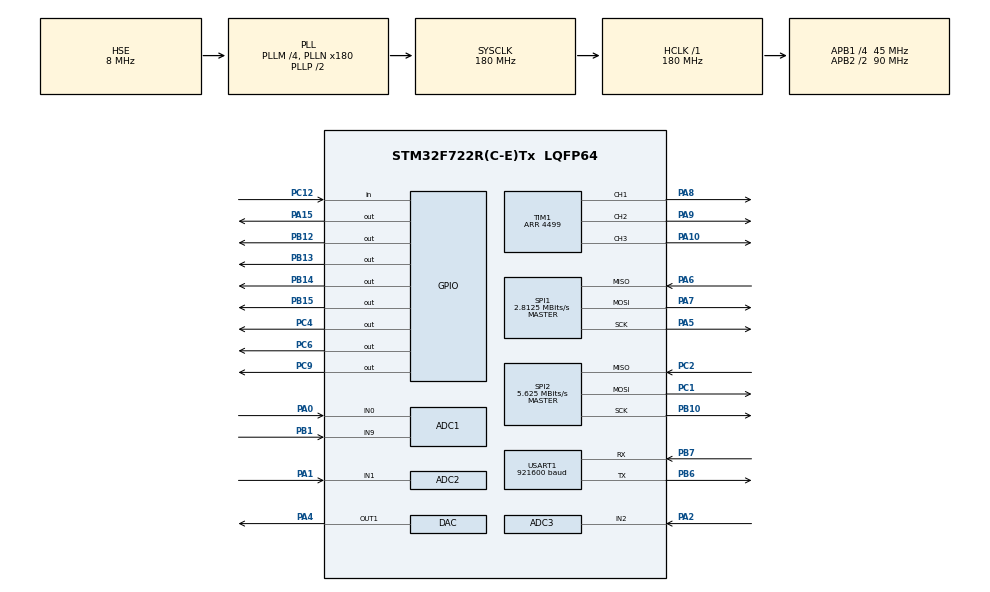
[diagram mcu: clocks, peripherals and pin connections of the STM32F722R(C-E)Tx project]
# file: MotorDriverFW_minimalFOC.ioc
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ADC1.Channel-0\#ChannelRegularConversion=ADC_CHANNEL_9
ADC1.Channel-1\#ChannelInjectedConversion=ADC_CHANNEL_0
ADC1.ClockPrescaler=ADC_CLOCK_SYNC_PCLK_DIV4
ADC1.ContinuousConvMode=DISABLE
ADC1.DMAContinuousRequests=DISABLE
ADC1.ExternalTrigConv=ADC_SOFTWARE_START
ADC1.ExternalTrigConvEdge=ADC_EXTERNALTRIGCONVEDGE_NONE
ADC1.ExternalTrigInjecConv=ADC_EXTERNALTRIGINJECCONV_T1_TRGO
ADC1.InjNumberOfConversion=1
ADC1.InjectedOffset-1\#ChannelInjectedConversion=0
ADC1.InjectedRank-1\#ChannelInjectedConversion=1
ADC1.Mode=ADC_TRIPLEMODE_INJECSIMULT
ADC1.NbrOfConversion=1
ADC1.NbrOfConversionFlag=1
ADC1.Rank-0\#ChannelRegularConversion=1
ADC1.SamplingTime-0\#ChannelRegularConversion=ADC_SAMPLETIME_3CYCLES
ADC1.SamplingTime-1\#ChannelInjectedConversion=ADC_SAMPLETIME_28CYCLES
ADC1.master=1
ADC2.Channel-0\#ChannelRegularConversion=ADC_CHANNEL_1
ADC2.Channel-1\#ChannelInjectedConversion=ADC_CHANNEL_1
ADC2.InjNumberOfConversion=1
ADC2.InjectedOffset-1\#ChannelInjectedConversion=0
ADC2.InjectedRank-1\#ChannelInjectedConversion=1
ADC2.Mode=ADC_TRIPLEMODE_INJECSIMULT
ADC2.NbrOfConversion=1
ADC2.NbrOfConversionFlag=1
ADC2.Rank-0\#ChannelRegularConversion=1
ADC2.SamplingTime-0\#ChannelRegularConversion=ADC_SAMPLETIME_3CYCLES
ADC2.SamplingTime-1\#ChannelInjectedConversion=ADC_SAMPLETIME_28CYCLES
ADC3.Channel-0\#ChannelRegularConversion=ADC_CHANNEL_2
ADC3.Channel-1\#ChannelInjectedConversion=ADC_CHANNEL_2
ADC3.DMAAccessMode=ADC_DMAACCESSMODE_1
ADC3.InjNumberOfConversion=1
ADC3.InjectedOffset-1\#ChannelInjectedConversion=0
ADC3.InjectedRank-1\#ChannelInjectedConversion=1
ADC3.Mode=ADC_TRIPLEMODE_INJECSIMULT
ADC3.NbrOfConversion=1
ADC3.NbrOfConversionFlag=1
ADC3.Rank-0\#ChannelRegularConversion=1
ADC3.SamplingTime-0\#ChannelRegularConversion=ADC_SAMPLETIME_3CYCLES
ADC3.SamplingTime-1\#ChannelInjectedConversion=ADC_SAMPLETIME_28CYCLES
CORTEX_M7.ART_ACCELERATOR_ENABLE=0
CORTEX_M7.CPU_DCache=Disabled
CORTEX_M7.CPU_ICache=Enabled
CORTEX_M7.FlashInterface=AXI_Enabled
CORTEX_M7.PREFETCH_ENABLE=0
CORTEX_M7.default_mode_Activation=1
Dma.Request0=USART1_TX
Dma.Request1=USART1_RX
Dma.Request2=SPI2_RX
Dma.Request3=SPI2_TX
Dma.SPI2_RX.2.Direction=DMA_PERIPH_TO_MEMORY
Dma.SPI2_RX.2.FIFOMode=DMA_FIFOMODE_DISABLE
Dma.SPI2_RX.2.Instance=DMA1_Stream3
Dma.SPI2_RX.2.MemDataAlignment=DMA_MDATAALIGN_HALFWORD
Dma.SPI2_RX.2.MemInc=DMA_MINC_ENABLE
Dma.SPI2_RX.2.Mode=DMA_NORMAL
Dma.SPI2_RX.2.PeriphDataAlignment=DMA_PDATAALIGN_HALFWORD
Dma.SPI2_RX.2.PeriphInc=DMA_PINC_DISABLE
Dma.SPI2_RX.2.Priority=DMA_PRIORITY_MEDIUM
Dma.SPI2_TX.3.Direction=DMA_MEMORY_TO_PERIPH
Dma.SPI2_TX.3.FIFOMode=DMA_FIFOMODE_DISABLE
Dma.SPI2_TX.3.Instance=DMA1_Stream4
Dma.SPI2_TX.3.MemDataAlignment=DMA_MDATAALIGN_HALFWORD
Dma.SPI2_TX.3.MemInc=DMA_MINC_ENABLE
Dma.SPI2_TX.3.Mode=DMA_NORMAL
Dma.SPI2_TX.3.PeriphDataAlignment=DMA_PDATAALIGN_HALFWORD
Dma.SPI2_TX.3.PeriphInc=DMA_PINC_DISABLE
Dma.SPI2_TX.3.Priority=DMA_PRIORITY_MEDIUM
Dma.USART1_RX.1.Direction=DMA_PERIPH_TO_MEMORY
Dma.USART1_RX.1.FIFOMode=DMA_FIFOMODE_DISABLE
Dma.USART1_RX.1.Instance=DMA2_Stream2
Dma.USART1_RX.1.MemDataAlignment=DMA_MDATAALIGN_BYTE
Dma.USART1_RX.1.MemInc=DMA_MINC_ENABLE
Dma.USART1_RX.1.Mode=DMA_CIRCULAR
Dma.USART1_RX.1.PeriphDataAlignment=DMA_PDATAALIGN_BYTE
Dma.USART1_RX.1.PeriphInc=DMA_PINC_DISABLE
Dma.USART1_RX.1.Priority=DMA_PRIORITY_LOW
Dma.USART1_TX.0.Direction=DMA_MEMORY_TO_PERIPH
Dma.USART1_TX.0.FIFOMode=DMA_FIFOMODE_DISABLE
Dma.USART1_TX.0.Instance=DMA2_Stream7
Dma.USART1_TX.0.MemDataAlignment=DMA_MDATAALIGN_BYTE
Dma.USART1_TX.0.MemInc=DMA_MINC_ENABLE
Dma.USART1_TX.0.Mode=DMA_NORMAL
Dma.USART1_TX.0.PeriphDataAlignment=DMA_PDATAALIGN_BYTE
Dma.USART1_TX.0.PeriphInc=DMA_PINC_DISABLE
Dma.USART1_TX.0.Priority=DMA_PRIORITY_LOW
Mcu.Family=STM32F7
Mcu.Name=STM32F722R(C-E)Tx
Mcu.Package=LQFP64
NVIC.ADC_IRQn=true\:0\:0\:false\:false\:true\:true\:true\:true
NVIC.DMA1_Stream3_IRQn=true\:0\:0\:false\:false\:true\:false\:true\:true
NVIC.DMA1_Stream4_IRQn=true\:0\:0\:false\:false\:true\:false\:true\:true
NVIC.DMA2_Stream2_IRQn=true\:1\:0\:true\:false\:true\:false\:true\:true
NVIC.DMA2_Stream7_IRQn=true\:1\:0\:true\:false\:true\:false\:true\:true
NVIC.PriorityGroup=NVIC_PRIORITYGROUP_4
NVIC.TIM1_UP_TIM10_IRQn=true\:0\:0\:false\:false\:true\:true\:true\:true
NVIC.USART1_IRQn=true\:2\:0\:true\:false\:true\:false\:true\:true
PA0-WKUP.Signal=ADCx_IN0
PA1.Signal=ADCx_IN1
PA10.Signal=S_TIM1_CH3
PA13.Mode=Trace_Asynchronous_SW
PA13.Signal=SYS_JTMS-SWDIO
PA14.Mode=Trace_Asynchronous_SW
PA14.Signal=SYS_JTCK-SWCLK
PA15.GPIO_Speed=GPIO_SPEED_FREQ_VERY_HIGH
PA15.Signal=GPIO_Output
PA2.Signal=ADCx_IN2
PA4.Signal=COMP_DAC1_group
PA5.Mode=Full_Duplex_Master
PA5.Signal=SPI1_SCK
PA6.Mode=Full_Duplex_Master
PA6.Signal=SPI1_MISO
PA7.Mode=Full_Duplex_Master
PA7.Signal=SPI1_MOSI
PA8.Signal=S_TIM1_CH1
PA9.Signal=S_TIM1_CH2
PB1.Signal=ADCx_IN9
PB10.Mode=Full_Duplex_Master
PB10.Signal=SPI2_SCK
PB12.GPIO_Speed=GPIO_SPEED_FREQ_VERY_HIGH
PB12.Signal=GPIO_Output
PB13.GPIO_Speed=GPIO_SPEED_FREQ_VERY_HIGH
PB13.Signal=GPIO_Output
PB14.GPIO_Speed=GPIO_SPEED_FREQ_VERY_HIGH
PB14.PinState=GPIO_PIN_RESET
PB14.Signal=GPIO_Output
PB15.GPIO_Speed=GPIO_SPEED_FREQ_VERY_HIGH
PB15.Signal=GPIO_Output
PB3.Mode=Trace_Asynchronous_SW
PB3.Signal=SYS_JTDO-SWO
PB6.Mode=Asynchronous
PB6.Signal=USART1_TX
PB7.Mode=Asynchronous
PB7.Signal=USART1_RX
PC1.Mode=Full_Duplex_Master
PC1.Signal=SPI2_MOSI
PC12.Signal=GPIO_Input
PC2.Mode=Full_Duplex_Master
PC2.Signal=SPI2_MISO
PC4.GPIO_Speed=GPIO_SPEED_FREQ_VERY_HIGH
PC4.Signal=GPIO_Output
PC6.GPIO_Speed=GPIO_SPEED_FREQ_VERY_HIGH
PC6.Signal=GPIO_Output
PC9.GPIO_Speed=GPIO_SPEED_FREQ_VERY_HIGH
PC9.Signal=GPIO_Output
PH0-OSC_IN.Mode=HSE-External-Oscillator
PH0-OSC_IN.Signal=RCC_OSC_IN
PH1-OSC_OUT.Mode=HSE-External-Oscillator
PH1-OSC_OUT.Signal=RCC_OSC_OUT
ProjectManager.HeapSize=0x200
ProjectManager.StackSize=0x400
ProjectManager.TargetToolchain=STM32CubeIDE
RCC.AHBFreq_Value=180000000
RCC.APB1CLKDivider=RCC_HCLK_DIV4
RCC.APB1Freq_Value=45000000
RCC.APB1TimFreq_Value=90000000
RCC.APB2CLKDivider=RCC_HCLK_DIV2
RCC.APB2Freq_Value=90000000
RCC.APB2TimFreq_Value=180000000
RCC.CortexFreq_Value=180000000
RCC.HCLKFreq_Value=180000000
RCC.HSE_VALUE=8000000
RCC.HSI_VALUE=16000000
RCC.LSE_VALUE=32768
RCC.PLLM=4
RCC.PLLN=180
RCC.PLLSourceVirtual=RCC_PLLSOURCE_HSE
RCC.SYSCLKFreq_VALUE=180000000
RCC.SYSCLKSource=RCC_SYSCLKSOURCE_PLLCLK
RCC.USBFreq_Value=180000000
RCC.VCOOutputFreq_Value=360000000
SH.ADCx_IN0.0=ADC1_IN0,IN0
SH.ADCx_IN1.0=ADC2_IN1,IN1
SH.ADCx_IN2.0=ADC3_IN2,IN2
SH.ADCx_IN9.0=ADC1_IN9,IN9
SH.COMP_DAC1_group.0=DAC_OUT1,DAC_OUT1
SH.S_TIM1_CH1.0=TIM1_CH1,PWM Generation1 CH1
SH.S_TIM1_CH2.0=TIM1_CH2,PWM Generation2 CH2
SH.S_TIM1_CH3.0=TIM1_CH3,PWM Generation3 CH3
SPI1.BaudRatePrescaler=SPI_BAUDRATEPRESCALER_32
SPI1.CLKPhase=SPI_PHASE_2EDGE
SPI1.CalculateBaudRate=2.8125 MBits/s
SPI1.DataSize=SPI_DATASIZE_16BIT
SPI1.Direction=SPI_DIRECTION_2LINES
SPI1.Mode=SPI_MODE_MASTER
SPI1.VirtualType=VM_MASTER
SPI2.BaudRatePrescaler=SPI_BAUDRATEPRESCALER_8
SPI2.CLKPhase=SPI_PHASE_2EDGE
SPI2.CalculateBaudRate=5.625 MBits/s
SPI2.DataSize=SPI_DATASIZE_16BIT
SPI2.Direction=SPI_DIRECTION_2LINES
SPI2.Mode=SPI_MODE_MASTER
SPI2.VirtualType=VM_MASTER
TIM1.Channel-PWM\ Generation1\ CH1=TIM_CHANNEL_1
TIM1.Channel-PWM\ Generation2\ CH2=TIM_CHANNEL_2
TIM1.Channel-PWM\ Generation3\ CH3=TIM_CHANNEL_3
TIM1.Channel-PWM\ Generation4\ No\ Output=TIM_CHANNEL_4
TIM1.CounterMode=TIM_COUNTERMODE_CENTERALIGNED1
TIM1.OCMode_PWM-PWM\ Generation1\ CH1=TIM_OCMODE_PWM1
TIM1.OCMode_PWM-PWM\ Generation2\ CH2=TIM_OCMODE_PWM1
TIM1.OCMode_PWM-PWM\ Generation3\ CH3=TIM_OCMODE_PWM1
TIM1.OCPolarity_1=TIM_OCPOLARITY_LOW
TIM1.OCPolarity_2=TIM_OCPOLARITY_LOW
TIM1.OCPolarity_3=TIM_OCPOLARITY_HIGH
TIM1.OCPolarity_4=TIM_OCPOLARITY_HIGH
TIM1.Period=4499
TIM1.RepetitionCounter=1
TIM1.TIM_MasterOutputTrigger=TIM_TRGO_OC4REF
TIM1.TIM_MasterSlaveMode=TIM_MASTERSLAVEMODE_ENABLE
USART1.BaudRate=921600
USART1.VirtualMode-Asynchronous=VM_ASYNC
VP_TIM1_VS_ClockSourceINT.Mode=Internal
VP_TIM1_VS_no_output4.Mode=PWM Generation4 No Output
board=custom

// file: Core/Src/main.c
/* USER CODE BEGIN Header */
/**
  ******************************************************************************
  * @file           : main.c
  * @brief          : Main program body
  ******************************************************************************
  * @attention
  *
  * Copyright (c) 2026 STMicroelectronics.
  * All rights reserved.
  *
  * This software is licensed under terms that can be found in the LICENSE file
  * in the root directory of this software component.
  * If no LICENSE file comes with this software, it is provided AS-IS.
  *
  ******************************************************************************
  */
/* USER CODE END Header */
#include "main.h"

/* USER CODE BEGIN Includes */
#include <stdio.h>
#include <string.h>
#include "foc_motor.h"
#include "foc_config.h"
/* USER CODE END Includes */

/* USER CODE BEGIN PD */
#define AS5147_CSN_PORT      GPIOC
#define AS5147_CSN_PIN       GPIO_PIN_4
#define DRV8323_NSCS_PORT    GPIOA
#define DRV8323_NSCS_PIN     GPIO_PIN_15
#define DRV8323_EN_PORT      GPIOB
#define DRV8323_EN_PIN       GPIO_PIN_13
#define DRV8323_NFAULT_PORT  GPIOC
#define DRV8323_NFAULT_PIN   GPIO_PIN_12
#define DRV8323_INLX_PORT    GPIOC
#define DRV8323_INLX_PIN     GPIO_PIN_9
#define LED_DEBUG_PORT       GPIOB
#define LED_DEBUG_PIN        GPIO_PIN_12
/* USER CODE END PD */

ADC_HandleTypeDef hadc1;
ADC_HandleTypeDef hadc2;
ADC_HandleTypeDef hadc3;

DAC_HandleTypeDef hdac;

SPI_HandleTypeDef hspi1;
SPI_HandleTypeDef hspi2;
DMA_HandleTypeDef hdma_spi2_rx;
DMA_HandleTypeDef hdma_spi2_tx;

TIM_HandleTypeDef htim1;

UART_HandleTypeDef huart1;
DMA_HandleTypeDef hdma_usart1_tx;
DMA_HandleTypeDef hdma_usart1_rx;

/* USER CODE BEGIN PV */
FOC_Motor_t motor;

static uint16_t          as5147_tx = 0xFFFF;   // NOP read command
static volatile uint16_t as5147_rx = 0;
/* USER CODE END PV */

void SystemClock_Config(void);
static void MPU_Config(void);
static void MX_GPIO_Init(void);
static void MX_DMA_Init(void);
static void MX_SPI2_Init(void);
static void MX_TIM1_Init(void);
static void MX_USART1_UART_Init(void);
static void MX_DAC_Init(void);
static void MX_SPI1_Init(void);
static void MX_ADC1_Init(void);
static void MX_ADC2_Init(void);
static void MX_ADC3_Init(void);
/* USER CODE BEGIN PFP */
static void PWM_SetDuties(float duty_u, float duty_v, float duty_w);
/* USER CODE END PFP */

/* USER CODE BEGIN 0 */
int _write(int file, char *ptr, int len)
{
    for (int i = 0; i < len; i++)
        ITM_SendChar(ptr[i]);
    return len;
}

static void PWM_SetDuties(float duty_u, float duty_v, float duty_w)
{
    uint32_t period = __HAL_TIM_GET_AUTORELOAD(&htim1);
    __HAL_TIM_SET_COMPARE(&htim1, TIM_CHANNEL_3, (uint32_t)(duty_u * period));
    __HAL_TIM_SET_COMPARE(&htim1, TIM_CHANNEL_2, (uint32_t)(duty_v * period));
    __HAL_TIM_SET_COMPARE(&htim1, TIM_CHANNEL_1, (uint32_t)(duty_w * period));
}

void HAL_TIM_PeriodElapsedCallback(TIM_HandleTypeDef *htim)
{
    if (htim->Instance != TIM1) return;

    // Latch angle from previous DMA result, then start new read
    motor.state.theta_mech_raw = (float)(as5147_rx & 0x3FFF)
                                 * (2.0f * 3.14159265f / 16384.0f);
    HAL_GPIO_WritePin(AS5147_CSN_PORT, AS5147_CSN_PIN, GPIO_PIN_RESET);
    HAL_SPI_TransmitReceive_DMA(&hspi2, (uint8_t*)&as5147_tx, (uint8_t*)&as5147_rx, 1);

    // TODO: FOC_Run(&motor);
    PWM_SetDuties(motor.out.duty_u, motor.out.duty_v, motor.out.duty_w);
}

void HAL_SPI_TxRxCpltCallback(SPI_HandleTypeDef *hspi)
{
    if (hspi->Instance != SPI2) return;
    HAL_GPIO_WritePin(AS5147_CSN_PORT, AS5147_CSN_PIN, GPIO_PIN_SET);
}
/* USER CODE END 0 */

int main(void)
{

  /* MPU Configuration--------------------------------------------------------*/
  MPU_Config();

  /* Enable the CPU Cache */

  /* Enable I-Cache---------------------------------------------------------*/
  SCB_EnableICache();

  /* MCU Configuration--------------------------------------------------------*/

  /* Reset of all peripherals, Initializes the Flash interface and the Systick. */
  HAL_Init();

  /* Configure the system clock */
  SystemClock_Config();

  /* Initialize all configured peripherals */
  MX_GPIO_Init();
  MX_DMA_Init();
  MX_SPI2_Init();
  MX_TIM1_Init();
  MX_USART1_UART_Init();
  MX_DAC_Init();
  MX_SPI1_Init();
  MX_ADC1_Init();
  MX_ADC2_Init();
  MX_ADC3_Init();
  /* USER CODE BEGIN 2 */
  printf("Starting main loop \r\n");

  // Start PWM outputs
  HAL_TIM_PWM_Start(&htim1, TIM_CHANNEL_1); //PA8
  HAL_TIM_PWM_Start(&htim1, TIM_CHANNEL_2); //PA9
  HAL_TIM_PWM_Start(&htim1, TIM_CHANNEL_3); //PA10
  HAL_TIM_PWM_Start(&htim1, TIM_CHANNEL_4); //PA10

  __HAL_TIM_SET_COMPARE(&htim1, TIM_CHANNEL_1, 0);
  __HAL_TIM_SET_COMPARE(&htim1, TIM_CHANNEL_2, 0);
  __HAL_TIM_SET_COMPARE(&htim1, TIM_CHANNEL_3, 0);
  __HAL_TIM_SET_COMPARE(&htim1, TIM_CHANNEL_4, 441);

  // INLx LOW (PC9)
  HAL_GPIO_WritePin(GPIOC, GPIO_PIN_9, GPIO_PIN_RESET);

  // Enable DRV8323 (PB13 HIGH)
  HAL_GPIO_WritePin(GPIOB, GPIO_PIN_13, GPIO_PIN_SET);

  HAL_Delay(1);

  HAL_TIM_Base_Start_IT(&htim1);

  // Enable master injected IT and Slaves to wait for the Master's trigger
  if(HAL_ADCEx_InjectedStart(&hadc2) != HAL_OK){
	  Error_Handler();
  }
  if(HAL_ADCEx_InjectedStart(&hadc3) != HAL_OK){
	  Error_Handler();
  }
  HAL_ADCEx_InjectedStart_IT(&hadc1);

  /* USER CODE END 2 */

  /* Infinite loop */
  while (1)
  {

  }
}

void SystemClock_Config(void)
{
  RCC_OscInitTypeDef RCC_OscInitStruct = {0};
  RCC_ClkInitTypeDef RCC_ClkInitStruct = {0};

  /** Configure the main internal regulator output voltage
  */
  __HAL_RCC_PWR_CLK_ENABLE();
  __HAL_PWR_VOLTAGESCALING_CONFIG(PWR_REGULATOR_VOLTAGE_SCALE1);

  /** Initializes the RCC Oscillators according to the specified parameters
  * in the RCC_OscInitTypeDef structure.
  */
  RCC_OscInitStruct.OscillatorType = RCC_OSCILLATORTYPE_HSE;
  RCC_OscInitStruct.HSEState = RCC_HSE_ON;
  RCC_OscInitStruct.PLL.PLLState = RCC_PLL_ON;
  RCC_OscInitStruct.PLL.PLLSource = RCC_PLLSOURCE_HSE;
  RCC_OscInitStruct.PLL.PLLM = 4;
  RCC_OscInitStruct.PLL.PLLN = 180;
  RCC_OscInitStruct.PLL.PLLP = RCC_PLLP_DIV2;
  RCC_OscInitStruct.PLL.PLLQ = 2;
  if (HAL_RCC_OscConfig(&RCC_OscInitStruct) != HAL_OK)
  {
    Error_Handler();
  }

  /** Initializes the CPU, AHB and APB buses clocks
  */
  RCC_ClkInitStruct.ClockType = RCC_CLOCKTYPE_HCLK|RCC_CLOCKTYPE_SYSCLK
                              |RCC_CLOCKTYPE_PCLK1|RCC_CLOCKTYPE_PCLK2;
  RCC_ClkInitStruct.SYSCLKSource = RCC_SYSCLKSOURCE_PLLCLK;
  RCC_ClkInitStruct.AHBCLKDivider = RCC_SYSCLK_DIV1;
  RCC_ClkInitStruct.APB1CLKDivider = RCC_HCLK_DIV4;
  RCC_ClkInitStruct.APB2CLKDivider = RCC_HCLK_DIV2;

  if (HAL_RCC_ClockConfig(&RCC_ClkInitStruct, FLASH_LATENCY_5) != HAL_OK)
  {
    Error_Handler();
  }
}

static void MX_ADC1_Init(void)
{

  ADC_MultiModeTypeDef multimode = {0};
  ADC_ChannelConfTypeDef sConfig = {0};
  ADC_InjectionConfTypeDef sConfigInjected = {0};

  /** Configure the global features of the ADC (Clock, Resolution, Data Alignment and number of conversion)
  */
  hadc1.Instance = ADC1;
  hadc1.Init.ClockPrescaler = ADC_CLOCK_SYNC_PCLK_DIV4;
  hadc1.Init.Resolution = ADC_RESOLUTION_12B;
  hadc1.Init.ScanConvMode = ADC_SCAN_DISABLE;
  hadc1.Init.ContinuousConvMode = DISABLE;
  hadc1.Init.DiscontinuousConvMode = DISABLE;
  hadc1.Init.ExternalTrigConvEdge = ADC_EXTERNALTRIGCONVEDGE_NONE;
  hadc1.Init.ExternalTrigConv = ADC_SOFTWARE_START;
  hadc1.Init.DataAlign = ADC_DATAALIGN_RIGHT;
  hadc1.Init.NbrOfConversion = 1;
  hadc1.Init.DMAContinuousRequests = DISABLE;
  hadc1.Init.EOCSelection = ADC_EOC_SINGLE_CONV;
  if (HAL_ADC_Init(&hadc1) != HAL_OK)
  {
    Error_Handler();
  }

  /** Configure the ADC multi-mode
  */
  multimode.Mode = ADC_TRIPLEMODE_INJECSIMULT;
  multimode.TwoSamplingDelay = ADC_TWOSAMPLINGDELAY_5CYCLES;
  if (HAL_ADCEx_MultiModeConfigChannel(&hadc1, &multimode) != HAL_OK)
  {
    Error_Handler();
  }

  /** Configure for the selected ADC regular channel its corresponding rank in the sequencer and its sample time.
  */
  sConfig.Channel = ADC_CHANNEL_9;
  sConfig.Rank = ADC_REGULAR_RANK_1;
  sConfig.SamplingTime = ADC_SAMPLETIME_3CYCLES;
  if (HAL_ADC_ConfigChannel(&hadc1, &sConfig) != HAL_OK)
  {
    Error_Handler();
  }

  /** Configures for the selected ADC injected channel its corresponding rank in the sequencer and its sample time
  */
  sConfigInjected.InjectedChannel = ADC_CHANNEL_0;
  sConfigInjected.InjectedRank = ADC_INJECTED_RANK_1;
  sConfigInjected.InjectedNbrOfConversion = 1;
  sConfigInjected.InjectedSamplingTime = ADC_SAMPLETIME_28CYCLES;
  sConfigInjected.ExternalTrigInjecConvEdge = ADC_EXTERNALTRIGINJECCONVEDGE_RISING;
  sConfigInjected.ExternalTrigInjecConv = ADC_EXTERNALTRIGINJECCONV_T1_TRGO;
  sConfigInjected.AutoInjectedConv = DISABLE;
  sConfigInjected.InjectedDiscontinuousConvMode = DISABLE;
  sConfigInjected.InjectedOffset = 0;
  if (HAL_ADCEx_InjectedConfigChannel(&hadc1, &sConfigInjected) != HAL_OK)
  {
    Error_Handler();
  }

}

static void MX_ADC2_Init(void)
{

  ADC_ChannelConfTypeDef sConfig = {0};
  ADC_InjectionConfTypeDef sConfigInjected = {0};

  /** Configure the global features of the ADC (Clock, Resolution, Data Alignment and number of conversion)
  */
  hadc2.Instance = ADC2;
  hadc2.Init.ClockPrescaler = ADC_CLOCK_SYNC_PCLK_DIV4;
  hadc2.Init.Resolution = ADC_RESOLUTION_12B;
  hadc2.Init.ScanConvMode = ADC_SCAN_DISABLE;
  hadc2.Init.ContinuousConvMode = DISABLE;
  hadc2.Init.DiscontinuousConvMode = DISABLE;
  hadc2.Init.DataAlign = ADC_DATAALIGN_RIGHT;
  hadc2.Init.NbrOfConversion = 1;
  hadc2.Init.DMAContinuousRequests = DISABLE;
  hadc2.Init.EOCSelection = ADC_EOC_SINGLE_CONV;
  if (HAL_ADC_Init(&hadc2) != HAL_OK)
  {
    Error_Handler();
  }

  /** Configure for the selected ADC regular channel its corresponding rank in the sequencer and its sample time.
  */
  sConfig.Channel = ADC_CHANNEL_1;
  sConfig.Rank = ADC_REGULAR_RANK_1;
  sConfig.SamplingTime = ADC_SAMPLETIME_3CYCLES;
  if (HAL_ADC_ConfigChannel(&hadc2, &sConfig) != HAL_OK)
  {
    Error_Handler();
  }

  /** Configures for the selected ADC injected channel its corresponding rank in the sequencer and its sample time
  */
  sConfigInjected.InjectedChannel = ADC_CHANNEL_1;
  sConfigInjected.InjectedRank = ADC_INJECTED_RANK_1;
  sConfigInjected.InjectedNbrOfConversion = 1;
  sConfigInjected.InjectedSamplingTime = ADC_SAMPLETIME_28CYCLES;
  sConfigInjected.AutoInjectedConv = ENABLE;
  sConfigInjected.InjectedDiscontinuousConvMode = DISABLE;
  sConfigInjected.InjectedOffset = 0;
  if (HAL_ADCEx_InjectedConfigChannel(&hadc2, &sConfigInjected) != HAL_OK)
  {
    Error_Handler();
  }

}

static void MX_ADC3_Init(void)
{

  ADC_ChannelConfTypeDef sConfig = {0};
  ADC_InjectionConfTypeDef sConfigInjected = {0};

  /** Configure the global features of the ADC (Clock, Resolution, Data Alignment and number of conversion)
  */
  hadc3.Instance = ADC3;
  hadc3.Init.ClockPrescaler = ADC_CLOCK_SYNC_PCLK_DIV4;
  hadc3.Init.Resolution = ADC_RESOLUTION_12B;
  hadc3.Init.ScanConvMode = ADC_SCAN_DISABLE;
  hadc3.Init.ContinuousConvMode = DISABLE;
  hadc3.Init.DiscontinuousConvMode = DISABLE;
  hadc3.Init.DataAlign = ADC_DATAALIGN_RIGHT;
  hadc3.Init.NbrOfConversion = 1;
  hadc3.Init.DMAContinuousRequests = DISABLE;
  hadc3.Init.EOCSelection = ADC_EOC_SINGLE_CONV;
  if (HAL_ADC_Init(&hadc3) != HAL_OK)
  {
    Error_Handler();
  }

  /** Configure for the selected ADC regular channel its corresponding rank in the sequencer and its sample time.
  */
  sConfig.Channel = ADC_CHANNEL_2;
  sConfig.Rank = ADC_REGULAR_RANK_1;
  sConfig.SamplingTime = ADC_SAMPLETIME_3CYCLES;
  if (HAL_ADC_ConfigChannel(&hadc3, &sConfig) != HAL_OK)
  {
    Error_Handler();
  }

  /** Configures for the selected ADC injected channel its corresponding rank in the sequencer and its sample time
  */
  sConfigInjected.InjectedChannel = ADC_CHANNEL_2;
  sConfigInjected.InjectedRank = ADC_INJECTED_RANK_1;
  sConfigInjected.InjectedNbrOfConversion = 1;
  sConfigInjected.InjectedSamplingTime = ADC_SAMPLETIME_28CYCLES;
  sConfigInjected.AutoInjectedConv = ENABLE;
  sConfigInjected.InjectedDiscontinuousConvMode = DISABLE;
  sConfigInjected.InjectedOffset = 0;
  if (HAL_ADCEx_InjectedConfigChannel(&hadc3, &sConfigInjected) != HAL_OK)
  {
    Error_Handler();
  }

}

static void MX_DAC_Init(void)
{

  DAC_ChannelConfTypeDef sConfig = {0};

  /** DAC Initialization
  */
  hdac.Instance = DAC;
  if (HAL_DAC_Init(&hdac) != HAL_OK)
  {
    Error_Handler();
  }

  /** DAC channel OUT1 config
  */
  sConfig.DAC_Trigger = DAC_TRIGGER_NONE;
  sConfig.DAC_OutputBuffer = DAC_OUTPUTBUFFER_ENABLE;
  if (HAL_DAC_ConfigChannel(&hdac, &sConfig, DAC_CHANNEL_1) != HAL_OK)
  {
    Error_Handler();
  }

}

static void MX_SPI1_Init(void)
{

  /* SPI1 parameter configuration*/
  hspi1.Instance = SPI1;
  hspi1.Init.Mode = SPI_MODE_MASTER;
  hspi1.Init.Direction = SPI_DIRECTION_2LINES;
  hspi1.Init.DataSize = SPI_DATASIZE_16BIT;
  hspi1.Init.CLKPolarity = SPI_POLARITY_LOW;
  hspi1.Init.CLKPhase = SPI_PHASE_2EDGE;
  hspi1.Init.NSS = SPI_NSS_SOFT;
  hspi1.Init.BaudRatePrescaler = SPI_BAUDRATEPRESCALER_32;
  hspi1.Init.FirstBit = SPI_FIRSTBIT_MSB;
  hspi1.Init.TIMode = SPI_TIMODE_DISABLE;
  hspi1.Init.CRCCalculation = SPI_CRCCALCULATION_DISABLE;
  hspi1.Init.CRCPolynomial = 7;
  hspi1.Init.CRCLength = SPI_CRC_LENGTH_DATASIZE;
  hspi1.Init.NSSPMode = SPI_NSS_PULSE_DISABLE;
  if (HAL_SPI_Init(&hspi1) != HAL_OK)
  {
    Error_Handler();
  }

}

static void MX_SPI2_Init(void)
{

  /* SPI2 parameter configuration*/
  hspi2.Instance = SPI2;
  hspi2.Init.Mode = SPI_MODE_MASTER;
  hspi2.Init.Direction = SPI_DIRECTION_2LINES;
  hspi2.Init.DataSize = SPI_DATASIZE_16BIT;
  hspi2.Init.CLKPolarity = SPI_POLARITY_LOW;
  hspi2.Init.CLKPhase = SPI_PHASE_2EDGE;
  hspi2.Init.NSS = SPI_NSS_SOFT;
  hspi2.Init.BaudRatePrescaler = SPI_BAUDRATEPRESCALER_8;
  hspi2.Init.FirstBit = SPI_FIRSTBIT_MSB;
  hspi2.Init.TIMode = SPI_TIMODE_DISABLE;
  hspi2.Init.CRCCalculation = SPI_CRCCALCULATION_DISABLE;
  hspi2.Init.CRCPolynomial = 7;
  hspi2.Init.CRCLength = SPI_CRC_LENGTH_DATASIZE;
  hspi2.Init.NSSPMode = SPI_NSS_PULSE_DISABLE;
  if (HAL_SPI_Init(&hspi2) != HAL_OK)
  {
    Error_Handler();
  }

}

static void MX_TIM1_Init(void)
{

  TIM_ClockConfigTypeDef sClockSourceConfig = {0};
  TIM_MasterConfigTypeDef sMasterConfig = {0};
  TIM_OC_InitTypeDef sConfigOC = {0};
  TIM_BreakDeadTimeConfigTypeDef sBreakDeadTimeConfig = {0};

  htim1.Instance = TIM1;
  htim1.Init.Prescaler = 0;
  htim1.Init.CounterMode = TIM_COUNTERMODE_CENTERALIGNED1;
  htim1.Init.Period = 4499;
  htim1.Init.ClockDivision = TIM_CLOCKDIVISION_DIV1;
  htim1.Init.RepetitionCounter = 1;
  htim1.Init.AutoReloadPreload = TIM_AUTORELOAD_PRELOAD_DISABLE;
  if (HAL_TIM_Base_Init(&htim1) != HAL_OK)
  {
    Error_Handler();
  }
  sClockSourceConfig.ClockSource = TIM_CLOCKSOURCE_INTERNAL;
  if (HAL_TIM_ConfigClockSource(&htim1, &sClockSourceConfig) != HAL_OK)
  {
    Error_Handler();
  }
  if (HAL_TIM_PWM_Init(&htim1) != HAL_OK)
  {
    Error_Handler();
  }
  sMasterConfig.MasterOutputTrigger = TIM_TRGO_OC4REF;
  sMasterConfig.MasterOutputTrigger2 = TIM_TRGO2_RESET;
  sMasterConfig.MasterSlaveMode = TIM_MASTERSLAVEMODE_ENABLE;
  if (HAL_TIMEx_MasterConfigSynchronization(&htim1, &sMasterConfig) != HAL_OK)
  {
    Error_Handler();
  }
  sConfigOC.OCMode = TIM_OCMODE_PWM1;
  sConfigOC.Pulse = 0;
  sConfigOC.OCPolarity = TIM_OCPOLARITY_LOW;
  sConfigOC.OCNPolarity = TIM_OCNPOLARITY_HIGH;
  sConfigOC.OCFastMode = TIM_OCFAST_DISABLE;
  sConfigOC.OCIdleState = TIM_OCIDLESTATE_RESET;
  sConfigOC.OCNIdleState = TIM_OCNIDLESTATE_RESET;
  if (HAL_TIM_PWM_ConfigChannel(&htim1, &sConfigOC, TIM_CHANNEL_1) != HAL_OK)
  {
    Error_Handler();
  }
  if (HAL_TIM_PWM_ConfigChannel(&htim1, &sConfigOC, TIM_CHANNEL_2) != HAL_OK)
  {
    Error_Handler();
  }
  sConfigOC.OCPolarity = TIM_OCPOLARITY_HIGH;
  if (HAL_TIM_PWM_ConfigChannel(&htim1, &sConfigOC, TIM_CHANNEL_3) != HAL_OK)
  {
    Error_Handler();
  }
  if (HAL_TIM_PWM_ConfigChannel(&htim1, &sConfigOC, TIM_CHANNEL_4) != HAL_OK)
  {
    Error_Handler();
  }
  sBreakDeadTimeConfig.OffStateRunMode = TIM_OSSR_DISABLE;
  sBreakDeadTimeConfig.OffStateIDLEMode = TIM_OSSI_DISABLE;
  sBreakDeadTimeConfig.LockLevel = TIM_LOCKLEVEL_OFF;
  sBreakDeadTimeConfig.DeadTime = 0;
  sBreakDeadTimeConfig.BreakState = TIM_BREAK_DISABLE;
  sBreakDeadTimeConfig.BreakPolarity = TIM_BREAKPOLARITY_HIGH;
  sBreakDeadTimeConfig.BreakFilter = 0;
  sBreakDeadTimeConfig.Break2State = TIM_BREAK2_DISABLE;
  sBreakDeadTimeConfig.Break2Polarity = TIM_BREAK2POLARITY_HIGH;
  sBreakDeadTimeConfig.Break2Filter = 0;
  sBreakDeadTimeConfig.AutomaticOutput = TIM_AUTOMATICOUTPUT_DISABLE;
  if (HAL_TIMEx_ConfigBreakDeadTime(&htim1, &sBreakDeadTimeConfig) != HAL_OK)
  {
    Error_Handler();
  }
  HAL_TIM_MspPostInit(&htim1);

}

static void MX_USART1_UART_Init(void)
{

  huart1.Instance = USART1;
  huart1.Init.BaudRate = 921600;
  huart1.Init.WordLength = UART_WORDLENGTH_8B;
  huart1.Init.StopBits = UART_STOPBITS_1;
  huart1.Init.Parity = UART_PARITY_NONE;
  huart1.Init.Mode = UART_MODE_TX_RX;
  huart1.Init.HwFlowCtl = UART_HWCONTROL_NONE;
  huart1.Init.OverSampling = UART_OVERSAMPLING_16;
  huart1.Init.OneBitSampling = UART_ONE_BIT_SAMPLE_DISABLE;
  huart1.AdvancedInit.AdvFeatureInit = UART_ADVFEATURE_NO_INIT;
  if (HAL_UART_Init(&huart1) != HAL_OK)
  {
    Error_Handler();
  }

}

static void MX_DMA_Init(void)
{

  /* DMA controller clock enable */
  __HAL_RCC_DMA2_CLK_ENABLE();
  __HAL_RCC_DMA1_CLK_ENABLE();

  /* DMA interrupt init */
  /* DMA1_Stream3_IRQn interrupt configuration */
  HAL_NVIC_SetPriority(DMA1_Stream3_IRQn, 0, 0);
  HAL_NVIC_EnableIRQ(DMA1_Stream3_IRQn);
  /* DMA1_Stream4_IRQn interrupt configuration */
  HAL_NVIC_SetPriority(DMA1_Stream4_IRQn, 0, 0);
  HAL_NVIC_EnableIRQ(DMA1_Stream4_IRQn);
  /* DMA2_Stream2_IRQn interrupt configuration */
  HAL_NVIC_SetPriority(DMA2_Stream2_IRQn, 1, 0);
  HAL_NVIC_EnableIRQ(DMA2_Stream2_IRQn);
  /* DMA2_Stream7_IRQn interrupt configuration */
  HAL_NVIC_SetPriority(DMA2_Stream7_IRQn, 1, 0);
  HAL_NVIC_EnableIRQ(DMA2_Stream7_IRQn);

}

static void MX_GPIO_Init(void)
{
  GPIO_InitTypeDef GPIO_InitStruct = {0};

  /* GPIO Ports Clock Enable */
  __HAL_RCC_GPIOH_CLK_ENABLE();
  __HAL_RCC_GPIOC_CLK_ENABLE();
  __HAL_RCC_GPIOA_CLK_ENABLE();
  __HAL_RCC_GPIOB_CLK_ENABLE();

  /*Configure GPIO pin Output Level */
  HAL_GPIO_WritePin(GPIOC, GPIO_PIN_4|GPIO_PIN_6|GPIO_PIN_9, GPIO_PIN_RESET);

  /*Configure GPIO pin Output Level */
  HAL_GPIO_WritePin(GPIOB, GPIO_PIN_12|GPIO_PIN_13|GPIO_PIN_14|GPIO_PIN_15, GPIO_PIN_RESET);

  /*Configure GPIO pin Output Level */
  HAL_GPIO_WritePin(GPIOA, GPIO_PIN_15, GPIO_PIN_RESET);

  /*Configure GPIO pins : PC4 PC6 PC9 */
  GPIO_InitStruct.Pin = GPIO_PIN_4|GPIO_PIN_6|GPIO_PIN_9;
  GPIO_InitStruct.Mode = GPIO_MODE_OUTPUT_PP;
  GPIO_InitStruct.Pull = GPIO_NOPULL;
  GPIO_InitStruct.Speed = GPIO_SPEED_FREQ_VERY_HIGH;
  HAL_GPIO_Init(GPIOC, &GPIO_InitStruct);

  /*Configure GPIO pins : PB12 PB13 PB14 PB15 */
  GPIO_InitStruct.Pin = GPIO_PIN_12|GPIO_PIN_13|GPIO_PIN_14|GPIO_PIN_15;
  GPIO_InitStruct.Mode = GPIO_MODE_OUTPUT_PP;
  GPIO_InitStruct.Pull = GPIO_NOPULL;
  GPIO_InitStruct.Speed = GPIO_SPEED_FREQ_VERY_HIGH;
  HAL_GPIO_Init(GPIOB, &GPIO_InitStruct);

  /*Configure GPIO pin : PA15 */
  GPIO_InitStruct.Pin = GPIO_PIN_15;
  GPIO_InitStruct.Mode = GPIO_MODE_OUTPUT_PP;
  GPIO_InitStruct.Pull = GPIO_NOPULL;
  GPIO_InitStruct.Speed = GPIO_SPEED_FREQ_VERY_HIGH;
  HAL_GPIO_Init(GPIOA, &GPIO_InitStruct);

  /*Configure GPIO pin : PC12 */
  GPIO_InitStruct.Pin = GPIO_PIN_12;
  GPIO_InitStruct.Mode = GPIO_MODE_INPUT;
  GPIO_InitStruct.Pull = GPIO_NOPULL;
  HAL_GPIO_Init(GPIOC, &GPIO_InitStruct);

}

/* USER CODE BEGIN 4 */

void HAL_ADCEx_InjectedConvCpltCallback(ADC_HandleTypeDef *hadc)
{
    if (hadc->Instance != ADC1) return;

    const float scale = FOC_ADC_VREF / (float)(1u << FOC_ADC_BITS)
                        / (FOC_ADC_RSHUNT * FOC_ADC_CSA_GAIN_VV);
    const float mid   = (float)(1u << (FOC_ADC_BITS - 1));

    motor.state.i_u = ((float)HAL_ADCEx_InjectedGetValue(&hadc1, ADC_INJECTED_RANK_1) - mid) * scale;
    motor.state.i_v = ((float)HAL_ADCEx_InjectedGetValue(&hadc2, ADC_INJECTED_RANK_1) - mid) * scale;
    motor.state.i_w = ((float)HAL_ADCEx_InjectedGetValue(&hadc3, ADC_INJECTED_RANK_1) - mid) * scale;
}

/* USER CODE END 4 */

 /* MPU Configuration */

void MPU_Config(void)
{
  MPU_Region_InitTypeDef MPU_InitStruct = {0};

  /* Disables the MPU */
  HAL_MPU_Disable();

  /** Initializes and configures the Region and the memory to be protected
  */
  MPU_InitStruct.Enable = MPU_REGION_ENABLE;
  MPU_InitStruct.Number = MPU_REGION_NUMBER0;
  MPU_InitStruct.BaseAddress = 0x0;
  MPU_InitStruct.Size = MPU_REGION_SIZE_4GB;
  MPU_InitStruct.SubRegionDisable = 0x87;
  MPU_InitStruct.TypeExtField = MPU_TEX_LEVEL0;
  MPU_InitStruct.AccessPermission = MPU_REGION_NO_ACCESS;
  MPU_InitStruct.DisableExec = MPU_INSTRUCTION_ACCESS_DISABLE;
  MPU_InitStruct.IsShareable = MPU_ACCESS_SHAREABLE;
  MPU_InitStruct.IsCacheable = MPU_ACCESS_NOT_CACHEABLE;
  MPU_InitStruct.IsBufferable = MPU_ACCESS_NOT_BUFFERABLE;

  HAL_MPU_ConfigRegion(&MPU_InitStruct);
  /* Enables the MPU */
  HAL_MPU_Enable(MPU_PRIVILEGED_DEFAULT);

}

void Error_Handler(void)
{
  __disable_irq();
  while (1)
  {
  }
}
